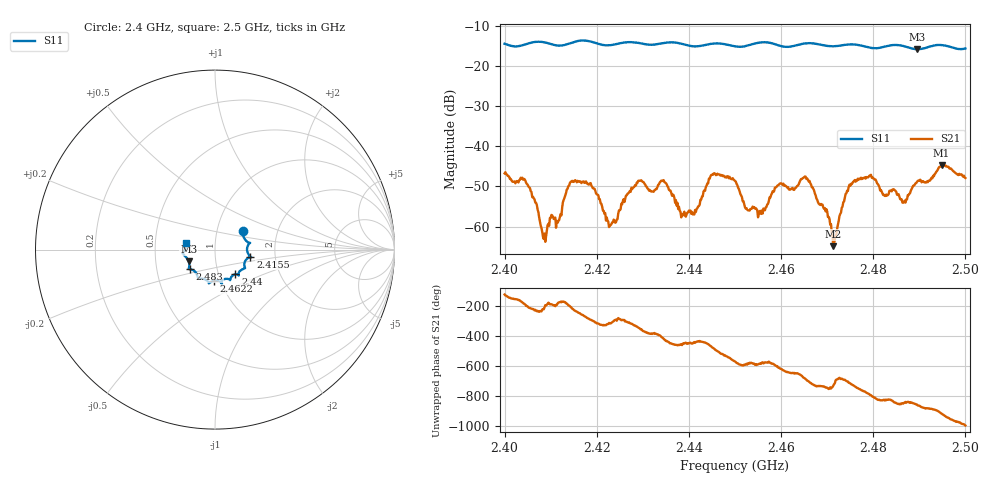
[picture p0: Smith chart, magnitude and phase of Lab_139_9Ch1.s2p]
# Hz S RI R
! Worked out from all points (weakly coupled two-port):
!   601 points, 2.4 GHz to 2.5 GHz, reference 50 ohm
!   highest |S21| = -44.67 dB at 2.4948 GHz (marker M1); lowest = -64.8 dB at 2.4713 GHz (marker M2)
!   lowest |S11| = -15.9 dB at 2.4895 GHz (marker M3), VSWR 1.38, Z = 36.9 - j5 ohm
!   |S11| at or under -10 dB: start of sweep to end of sweep
!   S12 and S22 are empty: the file has one direction only
!   S11 on the Smith chart (normalised r, x): 2.4 GHz: 1.33, +0.29; 2.4155 GHz: 1.49, -0.12; 2.44 GHz: 1.20, -0.34; 2.4622 GHz: 0.93, -0.33; 2.483 GHz: 0.74, -0.17; 2.5 GHz: 0.72, +0.06
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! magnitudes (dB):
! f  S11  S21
! 2.4 GHz  -14.5  -46.7
! 2.4047 GHz  -14.6  -49.1
! 2.4087 GHz  -14.2  -61.7
! 2.4155 GHz  -13.9  -48.6
! 2.4167 GHz  -13.7  -49.1
! 2.423 GHz  -14.9  -59.6
! 2.4292 GHz  -14.3  -48.6
! 2.4333 GHz  -14.6  -49.6
! 2.44 GHz  -15.0  -56.0
! 2.4452 GHz  -14.5  -47.1
! 2.45 GHz  -15.1  -48.6
! 2.4555 GHz  -14.2  -56.1
! 2.4622 GHz  -15.2  -50.6
! 2.4667 GHz  -14.4  -50.2
! 2.4713 GHz  -15.1  -64.8
! 2.4755 GHz  -14.7  -49.1
! 2.483 GHz  -15.1  -52.2
! 2.4833 GHz  -15.0  -51.9
! 2.4868 GHz  -15.2  -53.5
! 2.4895 GHz  -15.9  -48.8
! 2.4948 GHz  -14.8  -44.7
! 2.5 GHz  -15.7  -47.9
